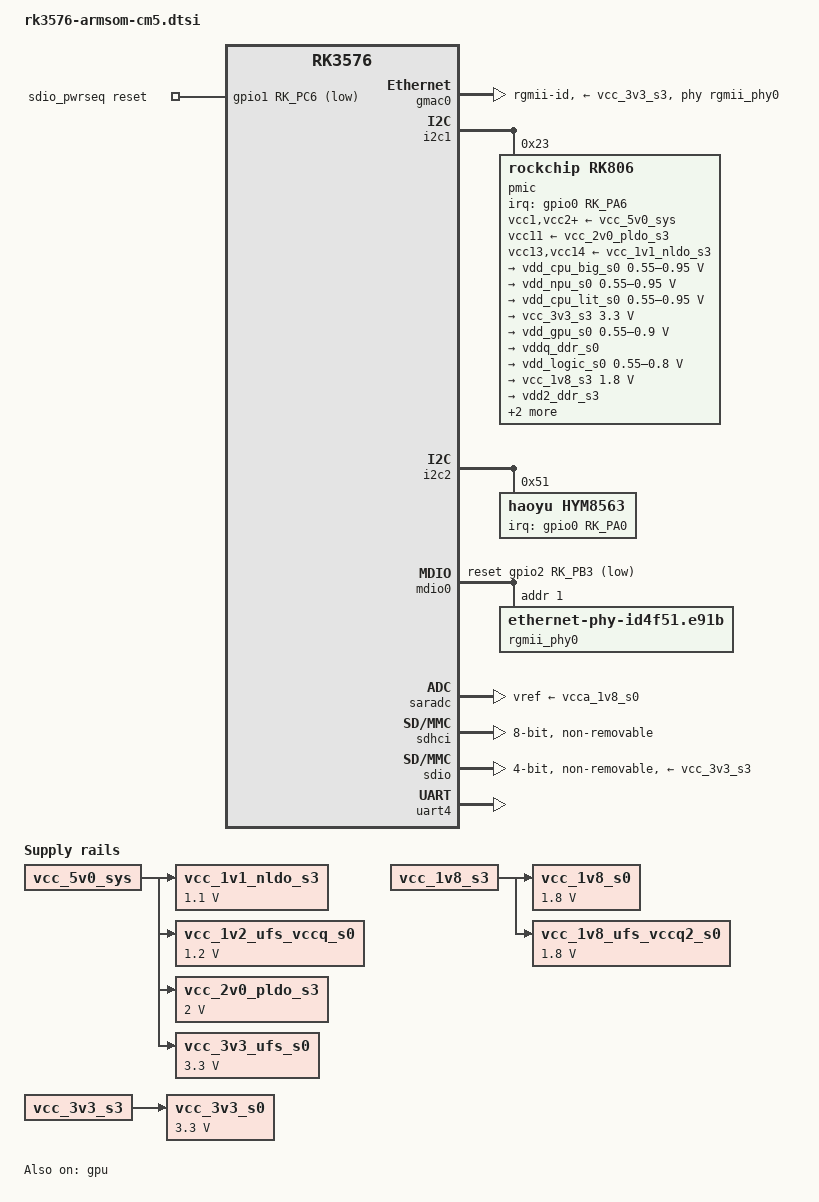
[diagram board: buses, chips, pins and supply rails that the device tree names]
// SPDX-License-Identifier: (GPL-2.0+ OR MIT)
/*
 * ArmSoM CM5 - Rockchip RK3576 compute module (Raspberry Pi CM4 form factor).
 *
 * Common to all CM5 carriers. The carrier .dts includes this file, sets the
 * board model/compatible, and adds carrier-specific peripherals.
 *
 * On-module devices:
 *   - RK806 PMIC on I2C1
 *   - HYM8563 RTC on I2C2
 *   - eMMC (SDHCI)
 *   - GMAC0 + MotorComm YT8531 Gigabit Ethernet PHY (RGMII)
 *   - SYN43752 WiFi 6 + BT 5.x (SDIO + UART4)
 *
 * Copyright (c) 2024 ArmSoM
 * Copyright (c) 2026 Jiaxing Hu <gahing@gahingwoo.com>
 */

#include <dt-bindings/gpio/gpio.h>
#include <dt-bindings/pinctrl/rockchip.h>
#include "rk3576.dtsi"

/ {
	compatible = "armsom,cm5", "rockchip,rk3576";

	vcc_1v1_nldo_s3: regulator-vcc-1v1-nldo-s3 {
		compatible = "regulator-fixed";
		regulator-name = "vcc_1v1_nldo_s3";
		regulator-boot-on;
		regulator-always-on;
		regulator-min-microvolt = <1100000>;
		regulator-max-microvolt = <1100000>;
		vin-supply = <&vcc_5v0_sys>;
	};

	vcc_1v2_ufs_vccq_s0: regulator-vcc-1v2-ufs-vccq-s0 {
		compatible = "regulator-fixed";
		regulator-name = "vcc_1v2_ufs_vccq_s0";
		regulator-boot-on;
		regulator-always-on;
		regulator-min-microvolt = <1200000>;
		regulator-max-microvolt = <1200000>;
		vin-supply = <&vcc_5v0_sys>;
	};

	vcc_1v8_s0: regulator-vcc-1v8-s0 {
		compatible = "regulator-fixed";
		regulator-name = "vcc_1v8_s0";
		regulator-boot-on;
		regulator-always-on;
		regulator-min-microvolt = <1800000>;
		regulator-max-microvolt = <1800000>;
		vin-supply = <&vcc_1v8_s3>;
	};

	vcc_1v8_ufs_vccq2_s0: regulator-vcc-1v8-ufs-vccq2-s0 {
		compatible = "regulator-fixed";
		regulator-name = "vcc_1v8_ufs_vccq2_s0";
		regulator-boot-on;
		regulator-always-on;
		regulator-min-microvolt = <1800000>;
		regulator-max-microvolt = <1800000>;
		vin-supply = <&vcc_1v8_s3>;
	};

	vcc_2v0_pldo_s3: regulator-vcc-2v0-pldo-s3 {
		compatible = "regulator-fixed";
		regulator-name = "vcc_2v0_pldo_s3";
		regulator-boot-on;
		regulator-always-on;
		regulator-min-microvolt = <2000000>;
		regulator-max-microvolt = <2000000>;
		vin-supply = <&vcc_5v0_sys>;
	};

	vcc_3v3_s0: regulator-vcc-3v3-s0 {
		compatible = "regulator-fixed";
		regulator-name = "vcc_3v3_s0";
		regulator-boot-on;
		regulator-always-on;
		regulator-min-microvolt = <3300000>;
		regulator-max-microvolt = <3300000>;
		vin-supply = <&vcc_3v3_s3>;
	};

	vcc_3v3_ufs_s0: regulator-vcc-ufs-s0 {
		compatible = "regulator-fixed";
		regulator-name = "vcc_3v3_ufs_s0";
		regulator-boot-on;
		regulator-always-on;
		regulator-min-microvolt = <3300000>;
		regulator-max-microvolt = <3300000>;
		vin-supply = <&vcc_5v0_sys>;
	};

	/*
	 * WiFi power sequencer for SYN43752. Reset GPIO1 PC6 active-low,
	 * clock from the HYM8563 RTC oscillator.
	 */
	sdio_pwrseq: sdio-pwrseq {
		compatible = "mmc-pwrseq-simple";
		clocks = <&hym8563>;
		clock-names = "ext_clock";
		pinctrl-names = "default";
		pinctrl-0 = <&wifi_reg_on>;
		reset-gpios = <&gpio1 RK_PC6 GPIO_ACTIVE_LOW>;
	};
};

&cpu_b0 {
	cpu-supply = <&vdd_cpu_big_s0>;
};

&cpu_b1 {
	cpu-supply = <&vdd_cpu_big_s0>;
};

&cpu_b2 {
	cpu-supply = <&vdd_cpu_big_s0>;
};

&cpu_b3 {
	cpu-supply = <&vdd_cpu_big_s0>;
};

&cpu_l0 {
	cpu-supply = <&vdd_cpu_lit_s0>;
};

&cpu_l1 {
	cpu-supply = <&vdd_cpu_lit_s0>;
};

&cpu_l2 {
	cpu-supply = <&vdd_cpu_lit_s0>;
};

&cpu_l3 {
	cpu-supply = <&vdd_cpu_lit_s0>;
};

/*
 * GMAC0 drives an on-module MotorComm YT8531. The PHY has no local crystal and
 * takes the SoC 25 MHz reference (REFCLKO25M_GMAC0_OUT); ethm0_clk0_25m_out
 * routes that clock to the pad, and the PHY node consumes and enables it.
 */
&gmac0 {
	phy-mode = "rgmii-id";
	clock_in_out = "output";
	phy-handle = <&rgmii_phy0>;
	phy-supply = <&vcc_3v3_s3>;
	pinctrl-names = "default";
	pinctrl-0 = <&eth0m0_miim
		     &eth0m0_tx_bus2
		     &eth0m0_rx_bus2
		     &eth0m0_rgmii_clk
		     &eth0m0_rgmii_bus
		     &ethm0_clk0_25m_out>;
	status = "okay";
};

&gpu {
	mali-supply = <&vdd_gpu_s0>;
	status = "okay";
};

&i2c1 {
	status = "okay";

	pmic@23 {
		compatible = "rockchip,rk806";
		reg = <0x23>;
		gpio-controller;
		#gpio-cells = <2>;
		interrupt-parent = <&gpio0>;
		interrupts = <RK_PA6 IRQ_TYPE_LEVEL_LOW>;
		pinctrl-names = "default";
		pinctrl-0 = <&pmic_pins>, <&rk806_dvs1_null>,
			    <&rk806_dvs2_null>, <&rk806_dvs3_null>;
		system-power-controller;
		vcc1-supply = <&vcc_5v0_sys>;
		vcc2-supply = <&vcc_5v0_sys>;
		vcc3-supply = <&vcc_5v0_sys>;
		vcc4-supply = <&vcc_5v0_sys>;
		vcc5-supply = <&vcc_5v0_sys>;
		vcc6-supply = <&vcc_5v0_sys>;
		vcc7-supply = <&vcc_5v0_sys>;
		vcc8-supply = <&vcc_5v0_sys>;
		vcc9-supply = <&vcc_5v0_sys>;
		vcc10-supply = <&vcc_5v0_sys>;
		vcc11-supply = <&vcc_2v0_pldo_s3>;
		vcc12-supply = <&vcc_5v0_sys>;
		vcc13-supply = <&vcc_1v1_nldo_s3>;
		vcc14-supply = <&vcc_1v1_nldo_s3>;
		vcca-supply = <&vcc_5v0_sys>;

		rk806_dvs1_null: dvs1-null-pins {
			pins = "gpio_pwrctrl1";
			function = "pin_fun0";
		};

		rk806_dvs2_null: dvs2-null-pins {
			pins = "gpio_pwrctrl2";
			function = "pin_fun0";
		};

		rk806_dvs3_null: dvs3-null-pins {
			pins = "gpio_pwrctrl3";
			function = "pin_fun0";
		};

		regulators {
			vdd_cpu_big_s0: dcdc-reg1 {
				regulator-always-on;
				regulator-boot-on;
				regulator-enable-ramp-delay = <400>;
				regulator-min-microvolt = <550000>;
				regulator-max-microvolt = <950000>;
				regulator-name = "vdd_cpu_big_s0";
				regulator-ramp-delay = <12500>;

				regulator-state-mem {
					regulator-off-in-suspend;
				};
			};

			vdd_npu_s0: dcdc-reg2 {
				regulator-boot-on;
				regulator-enable-ramp-delay = <400>;
				regulator-min-microvolt = <550000>;
				regulator-max-microvolt = <950000>;
				regulator-name = "vdd_npu_s0";
				regulator-ramp-delay = <12500>;

				regulator-state-mem {
					regulator-off-in-suspend;
				};
			};

			vdd_cpu_lit_s0: dcdc-reg3 {
				regulator-always-on;
				regulator-boot-on;
				regulator-min-microvolt = <550000>;
				regulator-max-microvolt = <950000>;
				regulator-name = "vdd_cpu_lit_s0";
				regulator-ramp-delay = <12500>;

				regulator-state-mem {
					regulator-off-in-suspend;
				};
			};

			vcc_3v3_s3: dcdc-reg4 {
				regulator-always-on;
				regulator-boot-on;
				regulator-min-microvolt = <3300000>;
				regulator-max-microvolt = <3300000>;
				regulator-name = "vcc_3v3_s3";

				regulator-state-mem {
					regulator-on-in-suspend;
				};
			};

			vdd_gpu_s0: dcdc-reg5 {
				regulator-boot-on;
				regulator-enable-ramp-delay = <400>;
				regulator-min-microvolt = <550000>;
				regulator-max-microvolt = <900000>;
				regulator-ramp-delay = <12500>;
				regulator-name = "vdd_gpu_s0";

				regulator-state-mem {
					regulator-off-in-suspend;
				};
			};

			vddq_ddr_s0: dcdc-reg6 {
				regulator-always-on;
				regulator-boot-on;
				regulator-name = "vddq_ddr_s0";

				regulator-state-mem {
					regulator-off-in-suspend;
				};
			};

			vdd_logic_s0: dcdc-reg7 {
				regulator-always-on;
				regulator-boot-on;
				regulator-min-microvolt = <550000>;
				regulator-max-microvolt = <800000>;
				regulator-name = "vdd_logic_s0";

				regulator-state-mem {
					regulator-off-in-suspend;
				};
			};

			vcc_1v8_s3: dcdc-reg8 {
				regulator-always-on;
				regulator-boot-on;
				regulator-min-microvolt = <1800000>;
				regulator-max-microvolt = <1800000>;
				regulator-name = "vcc_1v8_s3";

				regulator-state-mem {
					regulator-on-in-suspend;
				};
			};

			vdd2_ddr_s3: dcdc-reg9 {
				regulator-always-on;
				regulator-boot-on;
				regulator-name = "vdd2_ddr_s3";

				regulator-state-mem {
					regulator-on-in-suspend;
				};
			};

			vdd_ddr_s0: dcdc-reg10 {
				regulator-always-on;
				regulator-boot-on;
				regulator-min-microvolt = <550000>;
				regulator-max-microvolt = <1200000>;
				regulator-name = "vdd_ddr_s0";

				regulator-state-mem {
					regulator-off-in-suspend;
				};
			};

			vcca_1v8_s0: pldo-reg1 {
				regulator-always-on;
				regulator-boot-on;
				regulator-min-microvolt = <1800000>;
				regulator-max-microvolt = <1800000>;
				regulator-name = "vcca_1v8_s0";

				regulator-state-mem {
					regulator-off-in-suspend;
				};
			};

			vcca1v8_pldo2_s0: pldo-reg2 {
				regulator-always-on;
				regulator-boot-on;
				regulator-min-microvolt = <1800000>;
				regulator-max-microvolt = <1800000>;
				regulator-name = "vcca1v8_pldo2_s0";

				regulator-state-mem {
					regulator-off-in-suspend;
				};
			};

			vdda_1v2_s0: pldo-reg3 {
				regulator-always-on;
				regulator-boot-on;
				regulator-min-microvolt = <1200000>;
				regulator-max-microvolt = <1200000>;
				regulator-name = "vdda_1v2_s0";

				regulator-state-mem {
					regulator-off-in-suspend;
				};
			};

			vcca_3v3_s0: pldo-reg4 {
				regulator-always-on;
				regulator-boot-on;
				regulator-min-microvolt = <3300000>;
				regulator-max-microvolt = <3300000>;
				regulator-name = "vcca_3v3_s0";

				regulator-state-mem {
					regulator-off-in-suspend;
				};
			};

			vccio_sd_s0: pldo-reg5 {
				regulator-always-on;
				regulator-boot-on;
				regulator-min-microvolt = <1800000>;
				regulator-max-microvolt = <3300000>;
				regulator-name = "vccio_sd_s0";

				regulator-state-mem {
					regulator-off-in-suspend;
				};
			};

			vcca1v8_pldo6_s3: pldo-reg6 {
				regulator-always-on;
				regulator-boot-on;
				regulator-min-microvolt = <1800000>;
				regulator-max-microvolt = <1800000>;
				regulator-name = "vcca1v8_pldo6_s3";

				regulator-state-mem {
					regulator-on-in-suspend;
				};
			};

			vdd_0v75_s3: nldo-reg1 {
				regulator-always-on;
				regulator-boot-on;
				regulator-min-microvolt = <750000>;
				regulator-max-microvolt = <750000>;
				regulator-name = "vdd_0v75_s3";

				regulator-state-mem {
					regulator-on-in-suspend;
				};
			};

			vdda_ddr_pll_s0: nldo-reg2 {
				regulator-always-on;
				regulator-boot-on;
				regulator-min-microvolt = <850000>;
				regulator-max-microvolt = <850000>;
				regulator-name = "vdda_ddr_pll_s0";

				regulator-state-mem {
					regulator-off-in-suspend;
				};
			};

			vdda0v75_hdmi_s0: nldo-reg3 {
				regulator-always-on;
				regulator-boot-on;
				regulator-min-microvolt = <837500>;
				regulator-max-microvolt = <837500>;
				regulator-name = "vdda0v75_hdmi_s0";

				regulator-state-mem {
					regulator-off-in-suspend;
				};
			};

			vdda_0v85_s0: nldo-reg4 {
				regulator-always-on;
				regulator-boot-on;
				regulator-min-microvolt = <850000>;
				regulator-max-microvolt = <850000>;
				regulator-name = "vdda_0v85_s0";

				regulator-state-mem {
					regulator-off-in-suspend;
				};
			};

			vdda_0v75_s0: nldo-reg5 {
				regulator-always-on;
				regulator-boot-on;
				regulator-min-microvolt = <750000>;
				regulator-max-microvolt = <750000>;
				regulator-name = "vdda_0v75_s0";

				regulator-state-mem {
					regulator-off-in-suspend;
				};
			};
		};
	};
};

/* I2C2: HYM8563 RTC @ 0x51 (interrupt on GPIO0 PA0). */
&i2c2 {
	status = "okay";

	hym8563: rtc@51 {
		compatible = "haoyu,hym8563";
		reg = <0x51>;
		#clock-cells = <0>;
		clock-output-names = "hym8563";
		interrupt-parent = <&gpio0>;
		interrupts = <RK_PA0 IRQ_TYPE_LEVEL_LOW>;
		pinctrl-names = "default";
		pinctrl-0 = <&hym8563_int>;
		wakeup-source;
	};
};

/*
 * The PHY reset has to be described at the MDIO bus level: mdiobus releases a
 * bus level reset before it scans for PHY IDs, whereas the per-PHY reset-gpios
 * is only applied by phylib once the PHY has already been found, which never
 * happens while the YT8531 is still held in reset.
 *
 * The compatible names the YT8531 explicitly so phylib instantiates the PHY
 * from the device tree without an MDIO ID probe; the crystal-less PHY does not
 * answer on MDIO until its driver has enabled the reference clock below.
 */
&mdio0 {
	reset-gpios = <&gpio2 RK_PB3 GPIO_ACTIVE_LOW>;
	reset-delay-us = <20000>;
	reset-post-delay-us = <100000>;

	rgmii_phy0: ethernet-phy@1 {
		compatible = "ethernet-phy-id4f51.e91b";
		reg = <0x1>;
		clocks = <&cru REFCLKO25M_GMAC0_OUT>;
	};
};

&saradc {
	vref-supply = <&vcca_1v8_s0>;
	status = "okay";
};

/* eMMC: on-module, HS400 200 MHz with enhanced strobe. */
&sdhci {
	bus-width = <8>;
	full-pwr-cycle-in-suspend;
	max-frequency = <200000000>;
	mmc-hs400-1_8v;
	mmc-hs400-enhanced-strobe;
	no-sdio;
	no-sd;
	non-removable;
	/delete-property/ supports-cqe;
	status = "okay";
};

/* SDIO: SYN43752 WiFi, power-sequenced by sdio_pwrseq, clock from HYM8563. */
&sdio {
	bus-width = <4>;
	cap-sdio-irq;
	disable-wp;
	keep-power-in-suspend;
	mmc-pwrseq = <&sdio_pwrseq>;
	no-sd;
	no-mmc;
	non-removable;
	sd-uhs-sdr50;
	sd-uhs-sdr104;
	vmmc-supply = <&vcc_3v3_s3>;
	vqmmc-supply = <&vcc_1v8_s3>;
	wakeup-source;
	status = "okay";
};

/* UART4: Bluetooth (SYN43752). */
&uart4 {
	pinctrl-0 = <&uart4m1_xfer &uart4m1_ctsn &uart4m1_rtsn>;
	pinctrl-names = "default";
	uart-has-rtscts;
	status = "okay";
};

&pinctrl {
	hym8563 {
		hym8563_int: hym8563-int {
			rockchip,pins = <0 RK_PA0 RK_FUNC_GPIO &pcfg_pull_up>;
		};
	};

	wireless-wlan {
		/* GPIO1 PC6 - WiFi power enable / reset (sdio_pwrseq) */
		wifi_reg_on: wifi-reg-on {
			rockchip,pins = <1 RK_PC6 RK_FUNC_GPIO &pcfg_pull_up>;
		};
	};
};
